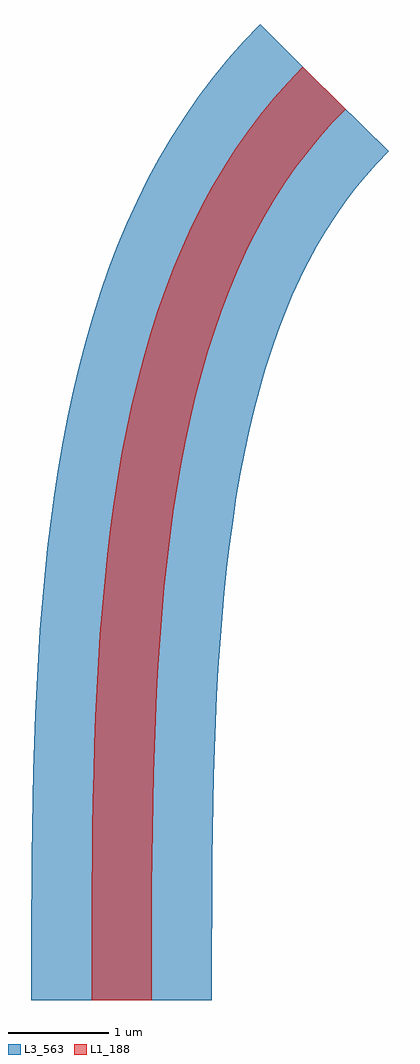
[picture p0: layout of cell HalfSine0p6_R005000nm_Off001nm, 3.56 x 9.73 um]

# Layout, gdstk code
import gdstk
lib = gdstk.Library(unit=1e-6, precision=1e-09)
L1_188 = (1, 188)
L3_563 = (3, 563)

halfsine0p6_r005000nm_of = lib.new_cell('HalfSine0p6_R005000nm_Off001nm')
halfsine0p6_r005000nm_of.add(gdstk.FlexPath([(0,-11.109),(0,-11.107),(0,-10.822),(0,-10.538),(0.001,-10.254),(0.002,-9.97),(0.005,-9.688),(0.008,-9.407),(0.013,-9.127),(0.02,-8.848),(0.028,-8.572),(0.038,-8.297),(0.051,-8.025),(0.066,-7.755),(0.083,-7.488),(0.104,-7.224),(0.128,-6.963),(0.154,-6.705),(0.185,-6.45),(0.219,-6.2),(0.256,-5.952),(0.298,-5.709),(0.344,-5.47),(0.394,-5.236),(0.449,-5.006),(0.508,-4.78),(0.572,-4.559),(0.641,-4.343),(0.714,-4.132),(0.793,-3.926),(0.877,-3.725),(0.966,-3.529),(1.061,-3.339),(1.161,-3.154),(1.266,-2.975),(1.378,-2.802),(1.494,-2.633),(1.617,-2.471),(1.745,-2.314),(1.879,-2.163),(2.018,-2.018),(2.019,-2.017)], 0.6, ends="flush", simple_path=True, layer=1, datatype=188))  # L1_188
halfsine0p6_r005000nm_of.add(gdstk.FlexPath([(0,-11.109),(0,-11.107),(0,-10.822),(0,-10.538),(0.001,-10.254),(0.002,-9.97),(0.005,-9.688),(0.008,-9.407),(0.013,-9.127),(0.02,-8.848),(0.028,-8.572),(0.038,-8.297),(0.051,-8.025),(0.066,-7.755),(0.083,-7.488),(0.104,-7.224),(0.128,-6.963),(0.154,-6.705),(0.185,-6.45),(0.219,-6.2),(0.256,-5.952),(0.298,-5.709),(0.344,-5.47),(0.394,-5.236),(0.449,-5.006),(0.508,-4.78),(0.572,-4.559),(0.641,-4.343),(0.714,-4.132),(0.793,-3.926),(0.877,-3.725),(0.966,-3.529),(1.061,-3.339),(1.161,-3.154),(1.266,-2.975),(1.378,-2.802),(1.494,-2.633),(1.617,-2.471),(1.745,-2.314),(1.879,-2.163),(2.018,-2.018),(2.019,-2.017)], 1.8, ends="flush", simple_path=True, layer=3, datatype=563))  # L3_563

lib.write_gds('HalfSine0p6_R005000nm_Off001nm.gds')
